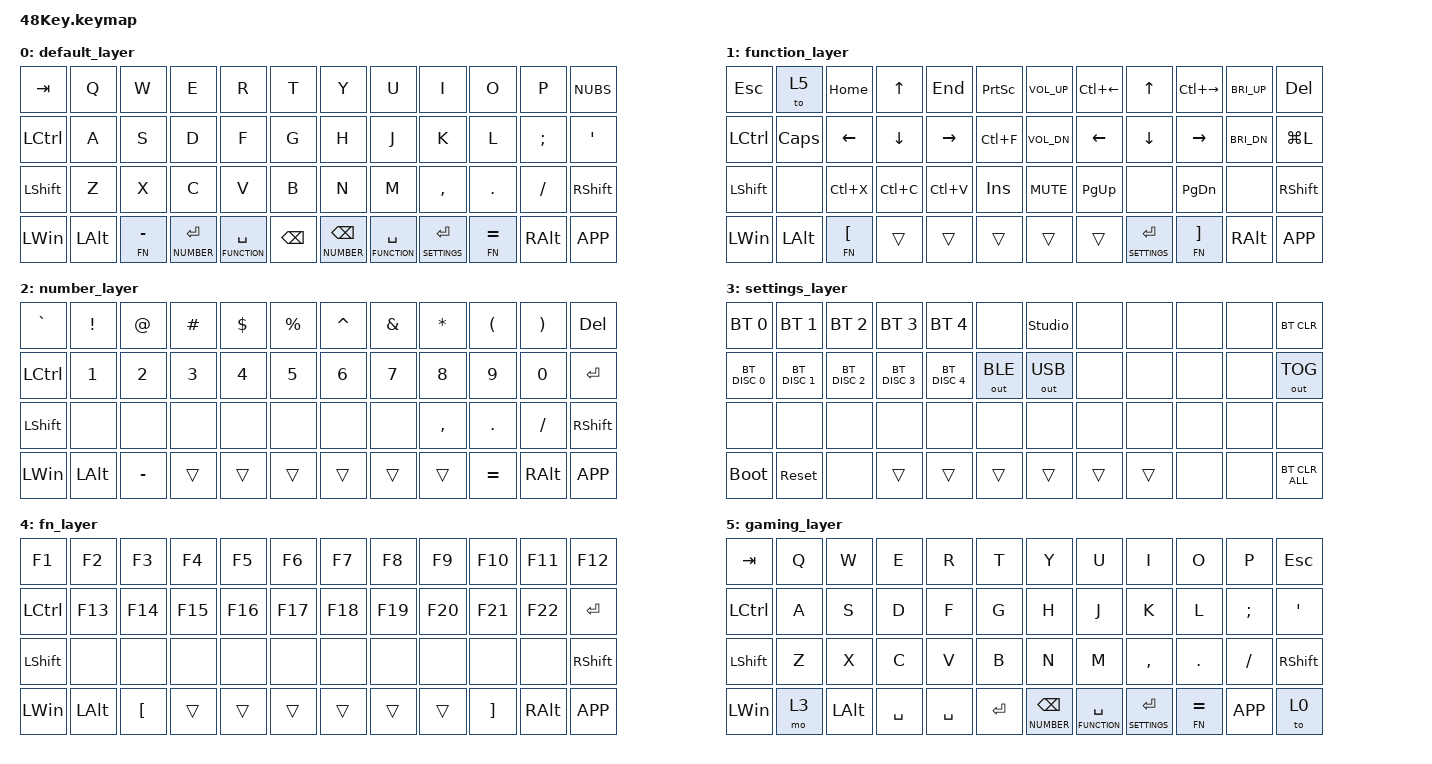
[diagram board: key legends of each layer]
/*
 * Copyright (c) 2022 The ZMK Contributors
 *
 * SPDX-License-Identifier: MIT
 */

#include <behaviors.dtsi>
#include <dt-bindings/zmk/keys.h>
#include <dt-bindings/zmk/outputs.h>
#include <dt-bindings/zmk/bt.h>
#include <dt-bindings/zmk/rgb.h>

#define DEFAULT 0
#define FUNCTION 1
#define NUMBER 2
#define SETTINGS 3
#define FN 4 
#define GAMING 5
&led_strip { chain-length = <16>; };

/ {

keymap {
        compatible = "zmk,keymap";

        default_layer {
            bindings = <
                &kp TAB       &kp Q      &kp W         &kp E             &kp R                &kp T       &kp Y             &kp  U               &kp I                &kp O        &kp P     &kp NUBS
                &kp LCTRL     &kp A      &kp S         &kp D             &kp F                &kp G       &kp H             &kp  J               &kp K                &kp L        &kp SEMI  &kp SQT
                &kp LSHIFT    &kp Z      &kp X         &kp C             &kp V                &kp B       &kp N             &kp  M               &kp COMMA            &kp DOT      &kp FSLH  &kp RSHIFT
                &kp LWIN      &kp LALT   &lt FN MINUS  &lt NUMBER ENTER  &lt FUNCTION SPACE   &kp BSPC    &lt NUMBER BSPC   &lt FUNCTION SPACE   &lt SETTINGS ENTER   &lt FN EQUAL  &kp RALT  &kp K_APP
            >;
         };
        function_layer {
            bindings = <
                &kp ESC      &to 5     &kp HOME    &kp UP        &kp END    &kp PSCRN   &kp C_VOL_UP   &kp LC(LEFT) &kp UP               &kp LC(RIGHT) &kp C_BRI_UP  &kp DEL
                &kp LCTRL    &kp CAPS  &kp LEFT    &kp DOWN      &kp RIGHT  &kp LC(F)   &kp C_VOL_DN   &kp LEFT     &kp DOWN             &kp RIGHT     &kp C_BRI_DN  &kp LG(L)
                &kp LSHIFT   &none     &kp LC(X)   &kp LC(C)     &kp LC(V)  &kp INS     &kp C_MUTE     &kp PG_UP    &none                &kp PG_DN     &none         &kp RSHIFT
                &kp LWIN     &kp LALT  &lt FN LBKT &trans        &trans     &trans      &trans         &trans       &lt SETTINGS ENTER   &lt FN RBKT   &kp RALT      &kp K_APP
            >;
        };
        number_layer {
            bindings = <
                &kp GRAVE  &kp EXCL   &kp AT     &kp HASH    &kp DOLLAR   &kp PERCENT  &kp CARET  &kp AMPS   &kp ASTERISK    &kp LPAR   &kp RPAR   &kp DEL
                &kp LCTRL  &kp N1     &kp N2     &kp N3      &kp N4       &kp N5       &kp N6     &kp N7     &kp N8          &kp N9     &kp N0     &kp ENTER
                &kp LSHIFT &none      &none      &none       &none        &none        &none      &none      &kp COMMA       &kp DOT    &kp FSLH   &kp RSHIFT
                &kp LWIN   &kp LALT   &kp MINUS  &trans      &trans       &trans       &trans     &trans     &trans          &kp EQUAL   &kp RALT   &kp K_APP
            >;
         };
        settings_layer {
            bindings = <
                &bt BT_SEL 0   &bt BT_SEL 1   &bt BT_SEL 2   &bt BT_SEL 3   &bt BT_SEL 4   &none         &studio_unlock   &none   &none   &none  &none  &bt BT_CLR
                &bt BT_DISC 0  &bt BT_DISC 1  &bt BT_DISC 2  &bt BT_DISC 3  &bt BT_DISC 4  &out OUT_BLE  &out OUT_USB     &none   &none   &none  &none  &out OUT_TOG
                &none          &none          &none          &none          &none          &none         &none            &none   &none   &none  &none  &none
                &bootloader    &sys_reset     &none          &trans         &trans         &trans        &trans           &trans  &trans  &none  &none  &bt BT_CLR_ALL
            >;
         };
        fn_layer {
            bindings = <
                &kp F1     &kp F2     &kp F3     &kp F4   &kp F5   &kp F6    &kp F7   &kp F8   &kp F9   &kp F10  &kp F11   &kp F12
                &kp LCTRL  &kp F13    &kp F14    &kp F15  &kp F16  &kp F17   &kp F18  &kp F19  &kp F20  &kp F21  &kp F22   &kp ENTER
                &kp LSHIFT &none      &none      &none    &none    &none     &none    &none    &none    &none    &none     &kp RSHIFT
                &kp LWIN   &kp LALT   &kp LBKT   &trans   &trans   &trans    &trans   &trans   &trans   &kp RBKT &kp RALT  &kp K_APP
            >;
         };
        gaming_layer {
            bindings = <
                &kp TAB       &kp Q      &kp W         &kp E             &kp R                &kp T       &kp Y             &kp  U               &kp I                &kp O        &kp P     &kp ESC
                &kp LCTRL     &kp A      &kp S         &kp D             &kp F                &kp G       &kp H             &kp  J               &kp K                &kp L        &kp SEMI  &kp SQT
                &kp LSHIFT    &kp Z      &kp X         &kp C             &kp V                &kp B       &kp N             &kp  M               &kp COMMA            &kp DOT      &kp FSLH  &kp RSHIFT
                &kp LWIN      &mo 3      &kp LALT      &kp SPACE         &kp SPACE            &kp ENTER   &lt NUMBER BSPC   &lt FUNCTION SPACE   &lt SETTINGS ENTER   &lt FN EQUAL &kp K_APP &to 0
            >;
         };
        studio1_layer {
            status = "reserved";
        };
        studio2_layer {
            status = "reserved";
        };
        studio3_layer {
            status = "reserved";
        };
        studio4_layer {
            status = "reserved";
        };
    };
};
